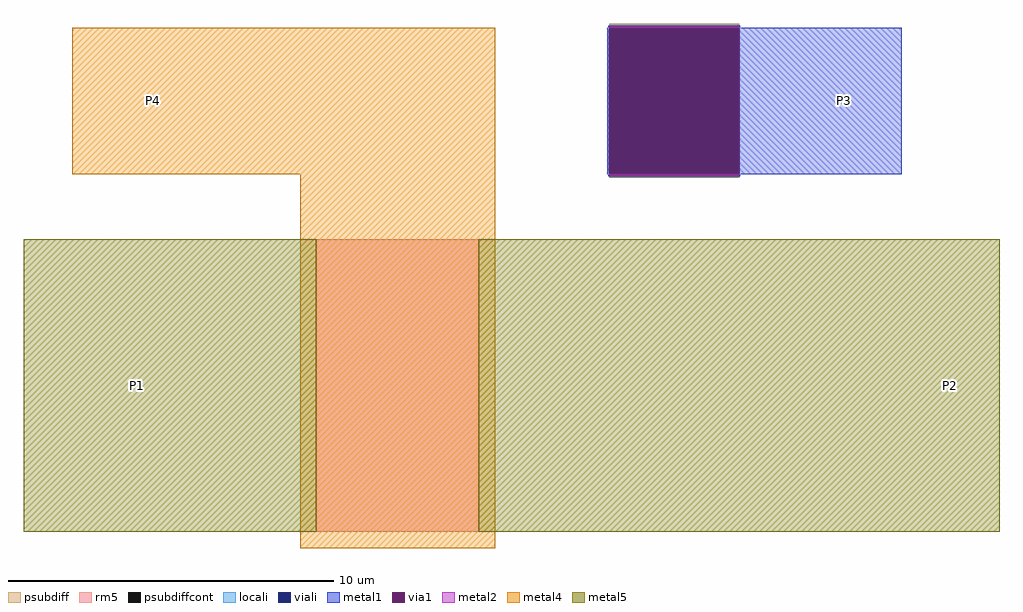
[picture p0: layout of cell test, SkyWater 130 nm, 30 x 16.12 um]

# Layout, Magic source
magic
tech sky130A
<< psubdiff >>
rect 1800 1550 2200 1562
rect 1800 1088 2200 1100
<< psubdiffcont >>
rect 1800 1100 2200 1550
<< locali >>
rect 1800 1550 2200 1558
rect 1800 1092 2200 1100
<< viali >>
rect 1800 1100 2200 1550
<< metal1 >>
rect 1797 1550 2203 1556
rect 1795 1100 1800 1550
rect 2200 1100 2700 1550
rect 1797 1094 2203 1100
<< via1 >>
rect 1800 1100 2200 1550
<< metal2 >>
rect 1800 1550 2200 1555
rect 1800 1095 2200 1100
<< metal4 >>
rect 150 1100 1450 1550
rect 850 -50 1450 1100
<< metal5 >>
rect 0 0 900 900
rect 1400 0 3000 900
<< rm5 >>
rect 900 0 1400 900
<< labels >>
rlabel metal5 100 100 600 800 1 P1
port 1 n
rlabel metal5 2700 100 3000 800 1 P2
port 2 n
rlabel metal1 2400 1150 2650 1500 1 P3
port 3 n
rlabel metal4 200 1150 600 1500 1 P4
port 4 n
<< end >>
